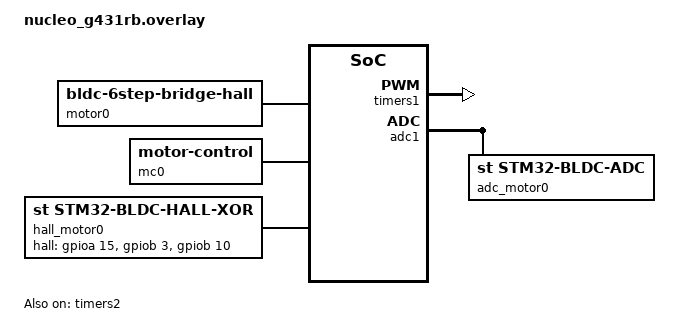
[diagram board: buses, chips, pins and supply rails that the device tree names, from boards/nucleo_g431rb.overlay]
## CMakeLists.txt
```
# Copyright (c) 2026 Rtone
# Copyright (c) 2026 Mathis Lécrivain <lecrivain.mathis@gmail.com>
# SPDX-License-Identifier: Apache-2.0

cmake_minimum_required(VERSION 3.20.0)

find_package(Zephyr REQUIRED HINTS $ENV{ZEPHYR_BASE})
project(subsys_motor_control)

target_sources(app PRIVATE src/main.c)
```

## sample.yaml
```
# Copyright (c) 2026 Rtone
# Copyright (c) 2026 Mathis Lécrivain <lecrivain.mathis@gmail.com>
# SPDX-License-Identifier: Apache-2.0

sample:
  name: Motor controller shell
  description: >
    Run a closed speed loop on a motor and tune it from the shell, through
    the motor control subsystem
tests:
  sample.subsys.motor_control:
    build_only: true
    platform_allow:
      - nucleo_g431rb
    integration_platforms:
      - nucleo_g431rb
    tags: motor
```

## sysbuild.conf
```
# Bare image, no bootloader: this firmware is flashed straight over ST-Link for
# bench work, and a bootloader would only add boot latency between power-up and
# the first gate transition.
SB_CONFIG_BOOTLOADER_NONE=y
```

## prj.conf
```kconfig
# Copyright (c) 2026 Rtone
# Copyright (c) 2026 Mathis Lécrivain <lecrivain.mathis@gmail.com>
# SPDX-License-Identifier: Apache-2.0

CONFIG_FPU=y
CONFIG_SHELL=y
CONFIG_MOTOR=y
CONFIG_SENSOR_SHELL=y
# mc list prints the gains as floats.
CONFIG_CBPRINTF_FP_SUPPORT=y
```

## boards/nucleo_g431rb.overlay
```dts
/*
 * Copyright (c) 2026 Rtone
 * Copyright (c) 2026 Mathis Lécrivain <lecrivain.mathis@gmail.com>
 *
 * SPDX-License-Identifier: Apache-2.0
 */

/*
 * X-NUCLEO-IHM16M1 shield: STSPIN830 reworked for MODE=H, factory 3-shunt
 * jumpers. See the README of samples/driver/motor for the setup.
 */

/* Nucleo peripherals routed to pins the shield drives or senses */
&spi1 {
	status = "disabled"; /* PA7: phase W current */
};

&spi2 {
	status = "disabled"; /* PB12..PB15: EN/FAULT and low-side inputs */
};

&spi3 {
	status = "disabled"; /* PA15: Hall 1 */
};

&usart1 {
	status = "disabled"; /* PC4: NTC */
};

&pwm2 {
	status = "disabled"; /* TIM2 reads the Hall sensors */
};

/ {
	pwmleds {
		status = "disabled";
	};
};

&timers1 {
	status = "okay";
	st,prescaler = <0>;

	bridge0: pwm-bridge {
		compatible = "st,stm32-pwm-bridge";
		status = "okay";

		pinctrl-0 = <&tim1_ch1_pa8  &tim1_ch1n_pb13
			     &tim1_ch2_pa9  &tim1_ch2n_pb14
			     &tim1_ch3_pa10 &tim1_ch3n_pb15>;
		pinctrl-names = "default";

		st,leg-channels = <1 2 3>;

		pwm-frequency-hz = <20000>;
		deadtime-ns = <500>;
		sync-trigger-enable;
	};
};

&timers2 {
	status = "okay";
	st,prescaler = <63>;

	hall_motor0: hall-xor {
		compatible = "st,stm32-bldc-hall-xor";
		status = "okay";

		pinctrl-0 = <&tim2_ch1_pa15 &tim2_ch2_pb3 &tim2_ch3_pb10>;
		pinctrl-names = "default";

		hall-gpios = <&gpioa 15 0>, <&gpiob 3 0>, <&gpiob 10 0>;
	};
};

&adc1 {
	status = "okay";
	st,adc-clock-source = "SYNC";
	st,adc-prescaler = <4>;

	adc_motor0: bldc-adc {
		compatible = "st,stm32-bldc-adc";
		status = "okay";

		pwm = <&bridge0>;
		channels = <2 12 15>; /* PA1, PB1, PB0 */
	};
};

/ {
	motor0: motor0 {
		compatible = "zephyr,bldc-6step-bridge-hall", "zephyr,motor";
		status = "okay";

		pwm = <&bridge0>;
		hall = <&hall_motor0>;
		adc = <&adc_motor0>;
		shunt-resistance-uohm = <330000>;
		current-gain-milli = <1530>;
		motor-pole-pairs = <7>;

		motor0_feedback: feedback {
			compatible = "zephyr,motor-feedback";
		};
	};

	mc0: mc0 {
		compatible = "zephyr,motor-control";
		status = "okay";

		motor = <&motor0>;
		motor-sensor = <&motor0_feedback>;
		control-period-ms = <2>; /* 500 Hz */
		/* Seeds to tune with "mc speed": 1000 RPM of error commands 2 % of the supply,
		 * and 10 % more every second it lasts.
		 */
		speed-pid-kp-micro = <20000>;
		speed-pid-ki-micro = <100000>;
		ramp-acceleration-rpm-per-s = <5000>;
	};
};
```

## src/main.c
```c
/*
 * Copyright (c) 2026 Rtone
 * Copyright (c) 2026 Mathis Lécrivain <lecrivain.mathis@gmail.com>
 *
 * SPDX-License-Identifier: Apache-2.0
 */

#include <zephyr/device.h>
#include <zephyr/kernel.h>
#include <zephyr/logging/log.h>

LOG_MODULE_REGISTER(main, CONFIG_APP_LOG_LEVEL);

static const struct device *const mc = DEVICE_DT_GET(DT_NODELABEL(mc0));

/**
 * @brief Check the motor controller came up, then leave the shell in charge.
 *
 * @return 0 on success, -ENODEV if the controller, its motor or its sensor failed its own init.
 */
int main(void)
{
	if (!device_is_ready(mc)) {
		LOG_ERR("%s failed to initialize", mc->name);
		return -ENODEV;
	}

	LOG_INF("%s ready", mc->name);

	return 0;
}
```
